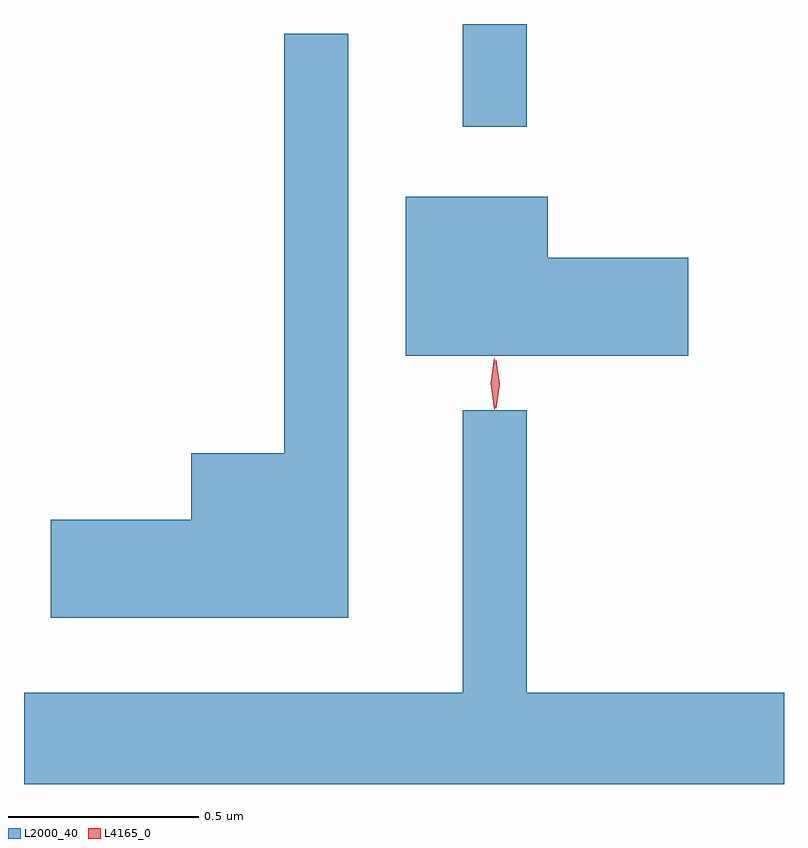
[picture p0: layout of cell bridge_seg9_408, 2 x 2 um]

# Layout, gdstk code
import gdstk
lib = gdstk.Library(unit=1e-6, precision=1e-09)
def R(c, l, rs):  # rectangles x0, y0, x1, y1
    for r in rs: c.add(gdstk.rectangle(r[:2], r[2:], *l))
def P(c, l, *ps):  # polygons
    for p in ps: c.add(gdstk.Polygon(p, *l))
L2000_40 = (2000, 40)
L4165_0 = (4165, 0)

bridge_seg9_408 = lib.new_cell('bridge_seg9_408')
R(bridge_seg9_408, L2000_40, [(998.561,1964.713,998.729,1964.984)])
P(bridge_seg9_408, L2000_40, [(998.259,1964.958),(998.091,1964.958),(998.091,1963.854),(997.846,1963.854),(997.846,1963.679),(997.476,1963.679),(997.476,1963.421),(998.259,1963.421)],
  [(999.154,1964.369),(998.784,1964.369),(998.784,1964.529),(998.411,1964.529),(998.411,1964.111),(999.154,1964.111)],
  [(999.406,1963.224),(998.729,1963.224),(998.729,1963.968),(998.561,1963.968),(998.561,1963.224),(997.406,1963.224),(997.406,1962.984),(999.406,1962.984)])
P(bridge_seg9_408, L4165_0, [(998.644,1963.97),(998.634,1964.038),(998.643,1964.106),(998.644,1964.106),(998.644,1964.106),(998.654,1964.038),(998.645,1963.97),(998.645,1963.97)],
  [(998.648,1963.973),(998.648,1963.973),(998.638,1964.036),(998.648,1964.099),(998.648,1964.1),(998.649,1964.099),(998.658,1964.036),(998.649,1963.973)])

lib.write_gds('bridge_seg9_408.gds')
